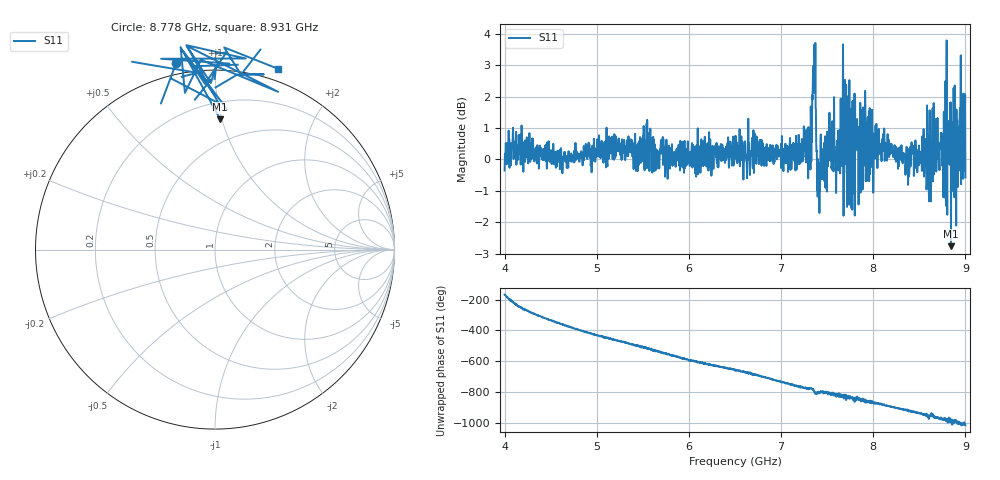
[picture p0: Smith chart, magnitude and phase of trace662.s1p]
! Created with skrf 1.8.0 (http://scikit-rf.org).
# Hz S RI R 50.0
!freq ReS11 ImS11
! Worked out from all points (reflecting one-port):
!   1601 points, 4 GHz to 9 GHz, reference 50 ohm
!   lowest |S11| = -2.8 dB at 8.844 GHz (marker M1), VSWR 6.33, Z = 16 + j49.4 ohm
!   phase of S11 starts at -167 deg and turns -848 deg over the sweep
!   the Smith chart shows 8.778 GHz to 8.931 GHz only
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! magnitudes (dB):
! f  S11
! 4 GHz  -0.4
! 4.1 GHz  0.3
! 4.625 GHz  -0.4
! 5.25 GHz  0.2
! 5.875 GHz  0.2
! 6.5 GHz  0.0
! 7.125 GHz  0.3
! 7.294 GHz  -0.6
! 7.356 GHz  2.1
! 7.412 GHz  -0.5
! 7.525 GHz  1.5
! 7.616 GHz  -0.1
! 7.65 GHz  0.7
! 7.716 GHz  -1.5
! 7.75 GHz  -1.5
! 7.769 GHz  -0.5
! 7.822 GHz  0.7
! 7.859 GHz  1.8
! 7.962 GHz  1.6
! 8.375 GHz  -0.1
! 8.541 GHz  0.7
! 8.612 GHz  1.6
! 8.656 GHz  1.8
! 8.766 GHz  1.5
! 8.816 GHz  0.3
! 8.844 GHz  -2.8
! 8.953 GHz  -0.8
! 9 GHz  -0.6
